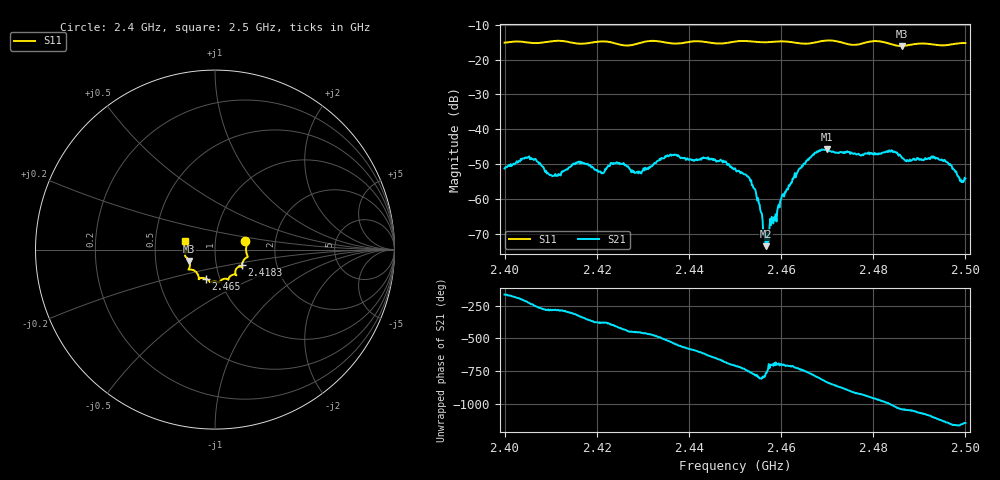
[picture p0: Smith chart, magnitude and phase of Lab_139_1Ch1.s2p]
# Hz S RI R 50
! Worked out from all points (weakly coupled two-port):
!   601 points, 2.4 GHz to 2.5 GHz, reference 50 ohm
!   highest |S21| = -45.79 dB at 2.47 GHz (marker M1); lowest = -73.6 dB at 2.4567 GHz (marker M2)
!   lowest |S11| = -16.1 dB at 2.4862 GHz (marker M3), VSWR 1.37, Z = 37.2 - j4.83 ohm
!   |S11| at or under -10 dB: start of sweep to end of sweep
!   S12 and S22 are empty: the file has one direction only
!   S11 on the Smith chart (normalised r, x): 2.4 GHz: 1.40, +0.14; 2.4183 GHz: 1.33, -0.24; 2.465 GHz: 0.86, -0.28; 2.5 GHz: 0.71, +0.07
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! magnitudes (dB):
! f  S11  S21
! 2.4 GHz  -15.1  -51.2
! 2.4052 GHz  -15.1  -47.9
! 2.411 GHz  -14.6  -52.8
! 2.4167 GHz  -15.4  -49.8
! 2.4183 GHz  -15.2  -50.4
! 2.4212 GHz  -14.8  -52.5
! 2.4253 GHz  -15.8  -49.9
! 2.4292 GHz  -15.3  -52.1
! 2.4333 GHz  -14.7  -49.0
! 2.4437 GHz  -14.9  -48.3
! 2.45 GHz  -14.8  -51.2
! 2.454 GHz  -14.8  -56.8
! 2.4555 GHz  -15.0  -63.2
! 2.4567 GHz  -15.0  -73.6
! 2.4603 GHz  -14.7  -58.7
! 2.465 GHz  -15.4  -49.8
! 2.4667 GHz  -15.2  -47.6
! 2.47 GHz  -14.5  -45.8
! 2.4833 GHz  -15.3  -46.1
! 2.4862 GHz  -16.1  -48.0
! 2.4953 GHz  -15.9  -48.9
! 2.5 GHz  -15.2  -54.1
